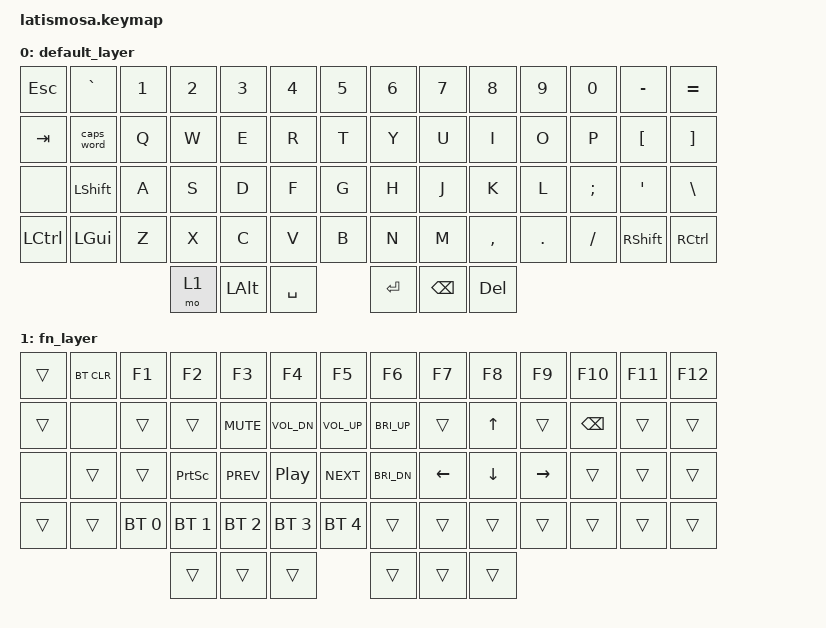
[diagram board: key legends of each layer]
/*
 * Keymap refait entierement d'apres le plan papier
 * Layout physique : 4 rangees x 7 colonnes + 3 touches pouce par moitie (62 touches)
 *
 * L'ordre des bindings suppose une matrix transform "ligne par ligne" :
 * rangee 1 gauche -> rangee 1 droite -> ... -> rangee 4 -> pouces gauche -> pouces droite.
 * A adapter si la transform de ton shield est differente.
 */

#include <behaviors.dtsi>
#include <dt-bindings/zmk/keys.h>
#include <dt-bindings/zmk/bt.h>

/ {
        keymap {
                compatible = "zmk,keymap";

                default_layer {
// --------------------------------------------------------------------------------------------------------------
// | ESC  |  `~  |  1  |  2  |  3  |  4  |  5  |   |  6  |  7  |  8  |  9  |  0  |  -_  |  =+  |
// | TAB  | CAPW |  Q  |  W  |  E  |  R  |  T  |   |  Y  |  U  |  I  |  O  |  P  |  [{  |  ]}  |
// | ---- | SHFT |  A  |  S  |  D  |  F  |  G  |   |  H  |  J  |  K  |  L  |  ;  |  '"  |  \|  |
// | CTRL | WIN  |  Z  |  X  |  C  |  V  |  B  |   |  N  |  M  |  ,  |  .  |  /  | SHFT | CTRL |
//                          | FN | ALT | SPACE |   | ENTER | BSPC | DEL |
//
// CAPW = &caps_word : met le mot en cours en MAJUSCULES, se desactive tout seul a l'espace
                        bindings = <
   &kp ESC   &kp GRAVE  &kp N1 &kp N2 &kp N3 &kp N4 &kp N5   &kp N6 &kp N7 &kp N8    &kp N9  &kp N0   &kp MINUS &kp EQUAL
   &kp TAB   &caps_word &kp Q  &kp W  &kp E  &kp R  &kp T    &kp Y  &kp U  &kp I     &kp O   &kp P    &kp LBKT  &kp RBKT
   &none     &kp LSHFT  &kp A  &kp S  &kp D  &kp F  &kp G    &kp H  &kp J  &kp K     &kp L   &kp SEMI &kp SQT   &kp BSLH
   &kp LCTRL &kp LGUI   &kp Z  &kp X  &kp C  &kp V  &kp B    &kp N  &kp M  &kp COMMA &kp DOT &kp FSLH &kp RSHFT &kp RCTRL
                               &mo 1  &kp LALT &kp SPACE     &kp RET &kp BSPC &kp DEL
                        >;
                };

                fn_layer {
// Layer perso (maintenir FN) :
//   - F1..F12 sur la rangee des chiffres (1->F1 ... 0->F10, - -> F11, = -> F12)
//   - Fleches sur I/J/K/L, medias sur D/F/G
//   - Volume : E = mute, R = volume -, T = volume +
//   - Luminosite : Y = luminosite +, H = luminosite -
//   - S = impression d'ecran (PrintScreen), P = Backspace
//   - Toutes les touches speciales (Ctrl, Win, Shift, Alt, Espace, etc.) restent actives (&trans)
//   - Bluetooth -> FN+Z..B = profils 1 a 5, FN+` = efface l'appairage du profil actif
// --------------------------------------------------------------------------------------------------------------
// | ____ |BT_CLR|  F1 |  F2  |  F3  |  F4  |  F5  |   |  F6  |  F7 |  F8 |  F9 | F10  | F11  | F12  |
// | ____ | ---- | ___ | ___  | MUTE | VOL- | VOL+ |   | BRI+ | ___ |  UP | ___ | BSPC | ____ | ____ |
// | ---- | ____ | ___ | PSCR | PREV | PLAY | NEXT |   | BRI- | LFT | DWN | RGT | ___  | ____ | ____ |
// | ____ | ____ | BT1 | BT2  | BT3  | BT4  | BT5  |   | ___  | ___ | ___ | ___ | ___  | ____ | ____ |
//                          | FN | ____ | ____ |   | ____ | ____ | ____ |
                        bindings = <
   &trans &bt BT_CLR &kp F1       &kp F2       &kp F3       &kp F4       &kp F5         &kp F6       &kp F7   &kp F8   &kp F9    &kp F10  &kp F11 &kp F12
   &trans &none      &trans       &trans       &kp C_MUTE   &kp C_VOL_DN &kp C_VOL_UP   &kp C_BRI_UP &trans   &kp UP   &trans    &kp BSPC &trans  &trans
   &none  &trans     &trans       &kp PSCRN    &kp C_PREV   &kp C_PP     &kp C_NEXT     &kp C_BRI_DN &kp LEFT &kp DOWN &kp RIGHT &trans   &trans  &trans
   &trans &trans     &bt BT_SEL 0 &bt BT_SEL 1 &bt BT_SEL 2 &bt BT_SEL 3 &bt BT_SEL 4   &trans       &trans   &trans   &trans    &trans   &trans  &trans
                                  &trans       &trans       &trans                      &trans &trans   &trans
                        >;
                };
        };
};
